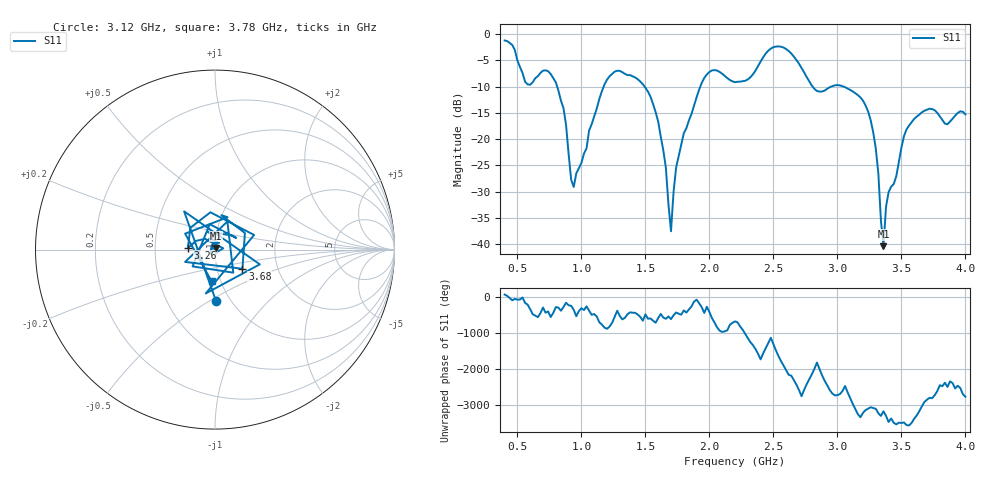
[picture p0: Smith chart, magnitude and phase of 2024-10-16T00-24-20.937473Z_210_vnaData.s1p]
! Created with skrf (http://scikit-rf.org).
# Hz S RI R 50.0
!freq ReS11 ImS11
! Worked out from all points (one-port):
!   181 points, 400 MHz to 4 GHz, reference 50 ohm
!   lowest |S11| = -40.4 dB at 3.36 GHz (marker M1), VSWR 1.02, Z = 50.4 + j0.864 ohm
!   |S11| at or under -10 dB: 810.8 MHz to 1.174 GHz (362.9 MHz wide, 36.6 % of centre); 1.494 GHz to 1.929 GHz (434.7 MHz wide, 25.4 % of centre); 3.05 GHz to end of sweep (the widest 3 of 4)
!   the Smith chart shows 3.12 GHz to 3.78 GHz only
!   S11 on the Smith chart (normalised r, x): 3.12 GHz: 0.86, -0.53; 3.26 GHz: 0.74, +0.01; 3.68 GHz: 1.32, -0.29; 3.78 GHz: 0.91, -0.33
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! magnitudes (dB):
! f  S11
! 400 MHz  -1.2
! 580 MHz  -9.6
! 760 MHz  -7.6
! 860 MHz  -14.1
! 920 MHz  -27.7
! 940 MHz  -29.1
! 1.18 GHz  -9.6
! 1.3 GHz  -7.0
! 1.56 GHz  -13.3
! 1.66 GHz  -25.5
! 1.7 GHz  -37.6
! 1.72 GHz  -30.1
! 1.76 GHz  -23.2
! 1.96 GHz  -8.3
! 2.2 GHz  -9.1
! 2.5 GHz  -2.5
! 2.66 GHz  -4.3
! 2.84 GHz  -10.8
! 3.1 GHz  -10.6
! 3.12 GHz  -10.9
! 3.26 GHz  -16.4
! 3.32 GHz  -26.6
! 3.36 GHz  -40.4
! 3.4 GHz  -30.1
! 3.56 GHz  -17.4
! 3.68 GHz  -14.6
! 3.78 GHz  -15.0
! 4 GHz  -15.3
